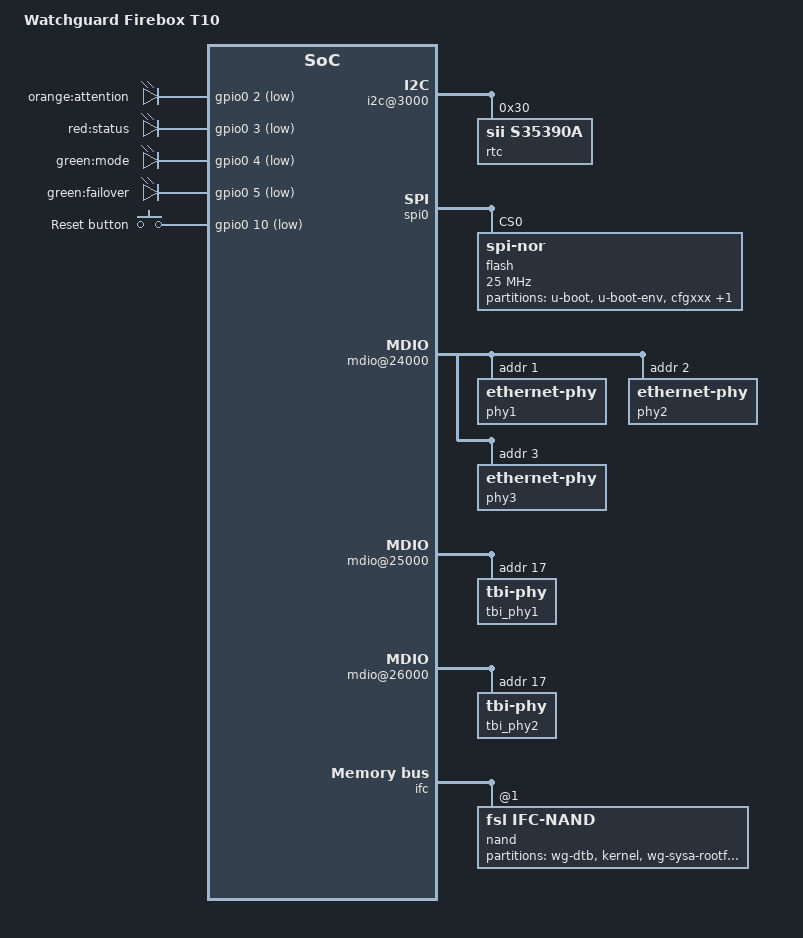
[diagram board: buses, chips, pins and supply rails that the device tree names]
// SPDX-License-Identifier: GPL-2.0-or-later or MIT

#include <dt-bindings/input/input.h>
#include <dt-bindings/gpio/gpio.h>

/include/ "fsl/p1010si-pre.dtsi"

/ {
	model = "Watchguard Firebox T10";
	compatible = "watchguard,firebox-t10";

	chosen {
		bootargs = "console=ttyS0,115200";
		bootargs-override = "console=ttyS0,115200";
	};

	aliases {
		spi0 = &spi0;
		led-boot = &led_mode;
		led-failsafe = &led_failover;
		led-running = &led_mode;
		led-upgrade = &led_attention;
	};

	memory {
		device_type = "memory";
	};

	leds {
		compatible = "gpio-leds";

		led_attention: attention_orange {
			gpios = <&gpio0 2 GPIO_ACTIVE_LOW>;
			label = "orange:attention";
		};

		status_red {
			gpios = <&gpio0 3 GPIO_ACTIVE_LOW>;
			label = "red:status";
		};

		led_mode: mode_green {
			gpios = <&gpio0 4 GPIO_ACTIVE_LOW>;
			label = "green:mode";
		};

		led_failover: failover_green {
			gpios = <&gpio0 5 GPIO_ACTIVE_LOW>;
			label = "green:failover";
		};
	};

	buttons {
		compatible = "gpio-keys";

		reset {
			label = "Reset button";
			gpios = <&gpio0 10 GPIO_ACTIVE_LOW>;
			linux,code = <KEY_RESTART>;
		};
	};


	soc: soc@ffe00000 {
		ranges = <0x0 0x0 0xffe00000 0x100000>;

		i2c@3000 {
			rtc@30 {
				compatible = "sii,s35390a";
				reg = <0x30>;
			};
		};

		spi0: spi@7000 {
			flash@0 {
				compatible = "jedec,spi-nor";
				reg = <0>;
				spi-max-frequency = <25000000>;

				partitions {
					compatible = "fixed-partitions";
					#address-cells = <1>;
					#size-cells = <1>;

					uboot: partition@0 {
						reg = <0x0 0x90000>;
						label = "u-boot";
						read-only;
					};

					partition@90000 {
						reg = <0x90000 0x10000>;
						label = "u-boot-env";
					};

					partition@a0000 {
						reg = <0xa0000 0x20000>;
						label = "cfgxxx";
						read-only;
					};

					partition@c0000 {
						reg = <0xc0000 0x40000>;
						label = "device_id";
						read-only;
					};
				};
			};
		};

		gpio0: gpio-controller@fc00 {
		};

		usb@22000 {
			phy_type = "utmi";
			dr_mode = "host";
		};

		mdio@24000 {
			phy1: ethernet-phy@1 {
				reg = <0x1>;
			};

			phy2: ethernet-phy@2 {
				reg = <0x2>;
			};

			phy3: ethernet-phy@3 {
				reg = <0x3>;
			};
		};

		mdio@25000 {
			tbi_phy1: tbi-phy@11 {
				reg = <0x11>;
				device_type = "tbi-phy";
			};
		};

		mdio@26000 {
			tbi_phy2: tbi-phy@11 {
				reg = <0x11>;
				device_type = "tbi-phy";
			};
		};

		enet0: ethernet@b0000 {
			phy-handle = <&phy1>;
			phy-connection-type = "rgmii-id";
		};

		enet1: ethernet@b1000 {
			tbi-handle = <&tbi_phy1>;
			phy-handle = <&phy2>;
			phy-connection-type = "sgmii";
		};

		enet2: ethernet@b2000 {
			tbi-handle = <&tbi_phy2>;
			phy-handle = <&phy3>;
			phy-connection-type = "sgmii";
		};

		sdhc@2e000 {
			status = "disabled";
		};

		serial1: serial@4600 {
			status = "disabled";
		};

		can0: can@1c000 {
			status = "disabled";
		};

		can1: can@1d000 {
			status = "disabled";
		};
	};

	pci0: pcie@ffe09000 {
		status = "disabled";
	};

	pci1: pcie@ffe0a000 {
		status = "disabled";
	};

	ifc: ifc@ffe1e000 {
		reg = <0x0 0xffe1e000 0 0x2000>;

		/* NOR, NAND Flashes and CPLD on board */
		ranges = <0x0 0x0 0x0 0xee000000 0x02000000
			0x1 0x0 0x0 0xff800000 0x00010000
			0x3 0x0 0x0 0xffb00000 0x00000020>;

		nand@100000000 {
			compatible = "fsl,ifc-nand";
			reg = <0x1 0x0 0x10000>;

			partitions {
				compatible = "fixed-partitions";
				#address-cells = <1>;
				#size-cells = <1>;

				/*
				 * Original partition layout:
				 * 0x000000000000-0x000000020000 : "NAND (RW) WG DTB Image"
				 * 0x000000020000-0x000000520000 : "NAND (RW) WG SYSA Kernel"
				 * 0x000000520000-0x000007f00000 : "NAND (RW) WG SYSA_CODE"
				 * 0x000007f00000-0x000008400000 : "NAND (RW) WG SYSB Kernel"
				 * 0x000008400000-0x000009c00000 : "NAND (RW) WG SYSB_CODE"
				 * 0x000009c00000-0x00000a100000 : "NAND (RW) WG SYSA2 Kernel"
				 * 0x00000a100000-0x000011ae0000 : "NAND (RW) WG SYSA_CODE2"
				 * 0x000011ae0000-0x000020000000 : "NAND (RW) WG SYSA_DATA"
				 */

				partition@0 {
					reg = <0x0 0x20000>;
					label = "wg-dtb";
					read-only;
				};

				partition@20000 {
					reg = <0x20000 0x500000>;
					label = "kernel";
				};

				partition@520000 {
					reg = <0x520000 0x79e0000>;
					label = "wg-sysa-rootfs";
					read-only;
				};

				partition@7f00000 {
					reg = <0x7f00000 0x500000>;
					label = "wg-sysb-kernel";
					read-only;
				};

				partition@8400000 {
					reg = <0x8400000 0x1800000>;
					label = "wg-sysb-rootfs";
					read-only;
				};

				partition@9c00000 {
					reg = <0x9c00000 0x500000>;
					label = "wg-sysa2-kernel";
					read-only;
				};

				partition@a100000 {
					reg = <0xa100000 0x79e0000>;
					label = "wg-sysa2-rootfs";
					read-only;
				};

				partition@11ae0000 {
					reg = <0x11ae0000 0xe520000>;
					label = "ubi";
				};
			};
		};
	};
};

/include/ "fsl/p1010si-post.dtsi"
